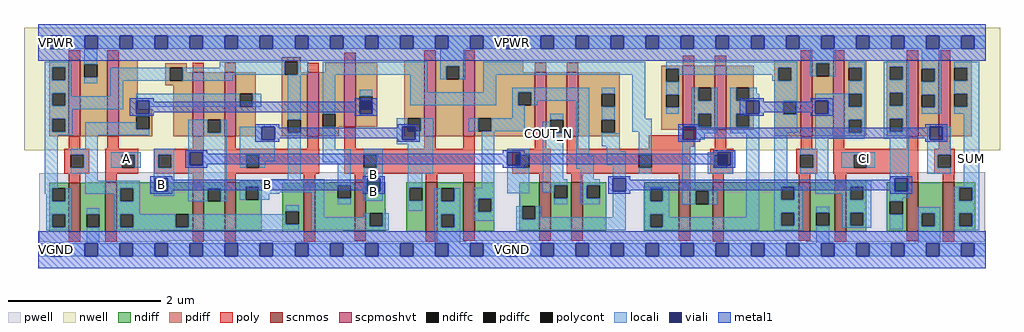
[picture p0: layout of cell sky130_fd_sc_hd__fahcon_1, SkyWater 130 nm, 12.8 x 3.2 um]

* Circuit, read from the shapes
.subckt sky130_fd_sc_hd__fahcon_1 A B CI VGND VNB VPB VPWR COUT_N SUM
XM1 VGND n1 n2 VNB sky130_fd_pr__nfet_01v8 w=0.64 l=0.15
XM2 n1 A VGND VNB sky130_fd_pr__nfet_01v8 w=0.65 l=0.15
XM3 n3 B n1 VNB sky130_fd_pr__nfet_01v8 w=0.64 l=0.15
XM4 n2 n4 n3 VNB sky130_fd_pr__nfet_01v8 w=0.64 l=0.15
XM5 n5 n4 n1 VNB sky130_fd_pr__nfet_01v8 w=0.64 l=0.15
XM6 n2 B n5 VNB sky130_fd_pr__nfet_01v8 w=0.64 l=0.15
XM7 VGND B n4 VNB sky130_fd_pr__nfet_01v8 w=0.65 l=0.15
XM8 n6 B VGND VNB sky130_fd_pr__nfet_01v8 w=0.64 l=0.15
XM9 COUT_N n3 n7 VNB sky130_fd_pr__nfet_01v8 w=0.64 l=0.15
XM10 n6 n5 COUT_N VNB sky130_fd_pr__nfet_01v8 w=0.64 l=0.15
XM11 n8 n5 n9 VNB sky130_fd_pr__nfet_01v8 w=0.64 l=0.15
XM12 n10 n3 n8 VNB sky130_fd_pr__nfet_01v8 w=0.64 l=0.15
XM13 VGND n9 n10 VNB sky130_fd_pr__nfet_01v8 w=0.64 l=0.15
XM14 n9 CI VGND VNB sky130_fd_pr__nfet_01v8 w=0.65 l=0.15
XM15 VGND CI n7 VNB sky130_fd_pr__nfet_01v8 w=0.64 l=0.15
XM16 SUM n8 VGND VNB sky130_fd_pr__nfet_01v8 w=0.65 l=0.15
XM17 VPWR n1 n2 VPB sky130_fd_pr__pfet_01v8_hvt w=1 l=0.15
XM18 n1 A VPWR VPB sky130_fd_pr__pfet_01v8_hvt w=1 l=0.15
XM19 n3 B n2 VPB sky130_fd_pr__pfet_01v8_hvt w=0.84 l=0.15
XM20 n1 n4 n3 VPB sky130_fd_pr__pfet_01v8_hvt w=0.84 l=0.15
XM21 n5 n4 n2 VPB sky130_fd_pr__pfet_01v8_hvt w=0.84 l=0.15
XM22 n1 B n5 VPB sky130_fd_pr__pfet_01v8_hvt w=0.84 l=0.15
XM23 VPWR B n4 VPB sky130_fd_pr__pfet_01v8_hvt w=1 l=0.15
XM24 n6 B VPWR VPB sky130_fd_pr__pfet_01v8_hvt w=1 l=0.15
XM25 COUT_N n3 n6 VPB sky130_fd_pr__pfet_01v8_hvt w=0.84 l=0.15
XM26 n7 n5 COUT_N VPB sky130_fd_pr__pfet_01v8_hvt w=0.84 l=0.15
XM27 n8 n5 n10 VPB sky130_fd_pr__pfet_01v8_hvt w=0.84 l=0.15
XM28 n9 n3 n8 VPB sky130_fd_pr__pfet_01v8_hvt w=0.84 l=0.15
XM29 VPWR n9 n10 VPB sky130_fd_pr__pfet_01v8_hvt w=1 l=0.15
XM30 n9 CI VPWR VPB sky130_fd_pr__pfet_01v8_hvt w=1 l=0.15
XM31 VPWR CI n7 VPB sky130_fd_pr__pfet_01v8_hvt w=1 l=0.15
XM32 SUM n8 VPWR VPB sky130_fd_pr__pfet_01v8_hvt w=1 l=0.15
.ends

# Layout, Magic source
magic
tech sky130A
magscale 1 2
<< nwell >>
rect -38 261 2522 582
<< pwell >>
rect 99 201 2483 203
rect 2 23 2483 201
rect 2 21 344 23
rect 614 21 1122 23
rect 2013 21 2483 23
rect 29 -17 63 21
<< scnmos >>
rect 80 47 110 175
rect 175 47 205 177
rect 404 49 434 177
rect 488 49 518 177
rect 696 47 726 175
rect 829 49 859 177
rect 1016 47 1046 177
rect 1114 49 1144 177
rect 1313 49 1343 177
rect 1398 49 1428 177
rect 1680 49 1710 177
rect 1768 49 1798 177
rect 1994 49 2024 177
rect 2089 47 2119 177
rect 2277 49 2307 177
rect 2372 47 2402 177
<< scpmoshvt >>
rect 80 297 110 497
rect 180 297 210 497
rect 404 297 434 465
rect 488 297 518 465
rect 705 297 735 465
rect 802 322 832 490
rect 1012 297 1042 497
rect 1114 297 1144 497
rect 1302 297 1332 465
rect 1386 297 1416 465
rect 1690 315 1720 483
rect 1774 315 1804 483
rect 2000 297 2030 497
rect 2084 297 2114 497
rect 2277 297 2307 497
rect 2361 297 2391 497
<< ndiff >>
rect 125 175 175 177
rect 28 161 80 175
rect 28 127 36 161
rect 70 127 80 161
rect 28 93 80 127
rect 28 59 36 93
rect 70 59 80 93
rect 28 47 80 59
rect 110 93 175 175
rect 110 59 126 93
rect 160 59 175 93
rect 110 47 175 59
rect 205 161 404 177
rect 205 127 215 161
rect 249 127 404 161
rect 205 93 404 127
rect 205 59 215 93
rect 249 59 360 93
rect 394 59 404 93
rect 205 49 404 59
rect 434 161 488 177
rect 434 127 444 161
rect 478 127 488 161
rect 434 49 488 127
rect 518 165 586 177
rect 763 175 829 177
rect 518 131 544 165
rect 578 131 586 165
rect 518 49 586 131
rect 640 101 696 175
rect 640 67 648 101
rect 682 67 696 101
rect 205 47 318 49
rect 640 47 696 67
rect 726 169 829 175
rect 726 135 785 169
rect 819 135 829 169
rect 726 49 829 135
rect 859 106 909 177
rect 964 163 1016 177
rect 964 129 972 163
rect 1006 129 1016 163
rect 964 121 1016 129
rect 859 95 911 106
rect 859 61 869 95
rect 903 61 911 95
rect 859 49 911 61
rect 726 47 798 49
rect 965 47 1016 121
rect 1046 161 1114 177
rect 1046 127 1056 161
rect 1090 127 1114 161
rect 1046 93 1114 127
rect 1046 59 1056 93
rect 1090 59 1114 93
rect 1046 49 1114 59
rect 1144 133 1196 177
rect 1144 99 1154 133
rect 1188 99 1196 133
rect 1144 49 1196 99
rect 1261 114 1313 177
rect 1261 80 1269 114
rect 1303 80 1313 114
rect 1261 49 1313 80
rect 1343 169 1398 177
rect 1343 135 1353 169
rect 1387 135 1398 169
rect 1343 49 1398 135
rect 1428 169 1489 177
rect 1428 135 1438 169
rect 1472 135 1489 169
rect 1428 49 1489 135
rect 1589 161 1680 177
rect 1589 127 1604 161
rect 1638 127 1680 161
rect 1589 93 1680 127
rect 1589 59 1604 93
rect 1638 59 1680 93
rect 1589 49 1680 59
rect 1710 153 1768 177
rect 1710 119 1724 153
rect 1758 119 1768 153
rect 1710 49 1768 119
rect 1798 165 1994 177
rect 1798 131 1948 165
rect 1982 131 1994 165
rect 1798 97 1994 131
rect 1798 63 1948 97
rect 1982 63 1994 97
rect 1798 49 1994 63
rect 2024 97 2089 177
rect 2024 63 2040 97
rect 2074 63 2089 97
rect 2024 49 2089 63
rect 1046 47 1096 49
rect 2039 47 2089 49
rect 2119 165 2171 177
rect 2119 131 2129 165
rect 2163 131 2171 165
rect 2119 97 2171 131
rect 2119 63 2129 97
rect 2163 63 2171 97
rect 2119 47 2171 63
rect 2225 127 2277 177
rect 2225 93 2233 127
rect 2267 93 2277 127
rect 2225 49 2277 93
rect 2307 95 2372 177
rect 2307 61 2317 95
rect 2351 61 2372 95
rect 2307 49 2372 61
rect 2322 47 2372 49
rect 2402 163 2457 177
rect 2402 129 2415 163
rect 2449 129 2457 163
rect 2402 95 2457 129
rect 2402 61 2415 95
rect 2449 61 2457 95
rect 2402 47 2457 61
<< pdiff >>
rect 28 479 80 497
rect 28 445 36 479
rect 70 445 80 479
rect 28 411 80 445
rect 28 377 36 411
rect 70 377 80 411
rect 28 343 80 377
rect 28 309 36 343
rect 70 309 80 343
rect 28 297 80 309
rect 110 486 180 497
rect 110 452 120 486
rect 154 452 180 486
rect 110 297 180 452
rect 210 369 260 497
rect 638 493 688 505
rect 332 477 389 489
rect 332 443 344 477
rect 378 465 389 477
rect 378 443 404 465
rect 332 431 404 443
rect 210 350 298 369
rect 210 316 256 350
rect 290 316 298 350
rect 210 297 298 316
rect 354 297 404 431
rect 434 341 488 465
rect 434 307 444 341
rect 478 307 488 341
rect 434 297 488 307
rect 518 409 570 465
rect 518 375 528 409
rect 562 375 570 409
rect 518 297 570 375
rect 638 459 646 493
rect 680 465 688 493
rect 752 465 802 490
rect 680 459 705 465
rect 638 341 705 459
rect 638 307 654 341
rect 688 307 705 341
rect 638 297 705 307
rect 735 357 802 465
rect 735 323 745 357
rect 779 323 802 357
rect 735 322 802 323
rect 832 403 888 490
rect 832 369 842 403
rect 876 369 888 403
rect 832 322 888 369
rect 960 345 1012 497
rect 735 297 787 322
rect 960 311 968 345
rect 1002 311 1012 345
rect 960 297 1012 311
rect 1042 481 1114 497
rect 1042 447 1070 481
rect 1104 447 1114 481
rect 1042 297 1114 447
rect 1144 465 1271 497
rect 1634 475 1690 483
rect 1144 413 1302 465
rect 1144 379 1258 413
rect 1292 379 1302 413
rect 1144 345 1302 379
rect 1144 311 1154 345
rect 1188 311 1302 345
rect 1144 297 1302 311
rect 1332 341 1386 465
rect 1332 307 1342 341
rect 1376 307 1386 341
rect 1332 297 1386 307
rect 1416 409 1524 465
rect 1416 375 1478 409
rect 1512 375 1524 409
rect 1416 341 1524 375
rect 1416 307 1478 341
rect 1512 307 1524 341
rect 1634 441 1646 475
rect 1680 441 1690 475
rect 1634 407 1690 441
rect 1634 373 1646 407
rect 1680 373 1690 407
rect 1634 315 1690 373
rect 1720 425 1774 483
rect 1720 391 1730 425
rect 1764 391 1774 425
rect 1720 357 1774 391
rect 1720 323 1730 357
rect 1764 323 1774 357
rect 1720 315 1774 323
rect 1804 425 1876 483
rect 1804 391 1830 425
rect 1864 391 1876 425
rect 1804 357 1876 391
rect 1804 323 1830 357
rect 1864 323 1876 357
rect 1804 315 1876 323
rect 1930 477 2000 497
rect 1930 443 1940 477
rect 1974 443 2000 477
rect 1930 389 2000 443
rect 1930 355 1954 389
rect 1988 355 2000 389
rect 1416 297 1524 307
rect 1930 297 2000 355
rect 2030 489 2084 497
rect 2030 455 2040 489
rect 2074 455 2084 489
rect 2030 297 2084 455
rect 2114 477 2171 497
rect 2114 443 2125 477
rect 2159 443 2171 477
rect 2114 409 2171 443
rect 2114 375 2125 409
rect 2159 375 2171 409
rect 2114 341 2171 375
rect 2114 307 2125 341
rect 2159 307 2171 341
rect 2114 297 2171 307
rect 2225 480 2277 497
rect 2225 446 2233 480
rect 2267 446 2277 480
rect 2225 412 2277 446
rect 2225 378 2233 412
rect 2267 378 2277 412
rect 2225 344 2277 378
rect 2225 310 2233 344
rect 2267 310 2277 344
rect 2225 297 2277 310
rect 2307 475 2361 497
rect 2307 441 2317 475
rect 2351 441 2361 475
rect 2307 407 2361 441
rect 2307 373 2317 407
rect 2351 373 2361 407
rect 2307 297 2361 373
rect 2391 477 2448 497
rect 2391 443 2402 477
rect 2436 443 2448 477
rect 2391 409 2448 443
rect 2391 375 2402 409
rect 2436 375 2448 409
rect 2391 297 2448 375
<< ndiffc >>
rect 36 127 70 161
rect 36 59 70 93
rect 126 59 160 93
rect 215 127 249 161
rect 215 59 249 93
rect 360 59 394 93
rect 444 127 478 161
rect 544 131 578 165
rect 648 67 682 101
rect 785 135 819 169
rect 972 129 1006 163
rect 869 61 903 95
rect 1056 127 1090 161
rect 1056 59 1090 93
rect 1154 99 1188 133
rect 1269 80 1303 114
rect 1353 135 1387 169
rect 1438 135 1472 169
rect 1604 127 1638 161
rect 1604 59 1638 93
rect 1724 119 1758 153
rect 1948 131 1982 165
rect 1948 63 1982 97
rect 2040 63 2074 97
rect 2129 131 2163 165
rect 2129 63 2163 97
rect 2233 93 2267 127
rect 2317 61 2351 95
rect 2415 129 2449 163
rect 2415 61 2449 95
<< pdiffc >>
rect 36 445 70 479
rect 36 377 70 411
rect 36 309 70 343
rect 120 452 154 486
rect 344 443 378 477
rect 256 316 290 350
rect 444 307 478 341
rect 528 375 562 409
rect 646 459 680 493
rect 654 307 688 341
rect 745 323 779 357
rect 842 369 876 403
rect 968 311 1002 345
rect 1070 447 1104 481
rect 1258 379 1292 413
rect 1154 311 1188 345
rect 1342 307 1376 341
rect 1478 375 1512 409
rect 1478 307 1512 341
rect 1646 441 1680 475
rect 1646 373 1680 407
rect 1730 391 1764 425
rect 1730 323 1764 357
rect 1830 391 1864 425
rect 1830 323 1864 357
rect 1940 443 1974 477
rect 1954 355 1988 389
rect 2040 455 2074 489
rect 2125 443 2159 477
rect 2125 375 2159 409
rect 2125 307 2159 341
rect 2233 446 2267 480
rect 2233 378 2267 412
rect 2233 310 2267 344
rect 2317 441 2351 475
rect 2317 373 2351 407
rect 2402 443 2436 477
rect 2402 375 2436 409
<< poly >>
rect 80 497 110 523
rect 180 497 210 523
rect 404 465 434 491
rect 488 465 518 491
rect 705 465 735 491
rect 802 490 832 516
rect 1012 497 1042 523
rect 1114 497 1144 523
rect 80 265 110 297
rect 180 265 210 297
rect 404 265 434 297
rect 67 249 133 265
rect 67 215 85 249
rect 119 215 133 249
rect 67 199 133 215
rect 175 249 262 265
rect 175 215 218 249
rect 252 215 262 249
rect 175 199 262 215
rect 304 249 434 265
rect 304 215 314 249
rect 348 215 434 249
rect 304 199 434 215
rect 80 175 110 199
rect 175 177 205 199
rect 404 177 434 199
rect 488 265 518 297
rect 705 265 735 297
rect 802 265 832 322
rect 1302 465 1332 491
rect 1386 465 1416 491
rect 1690 483 1720 509
rect 1774 483 1804 509
rect 2000 497 2030 523
rect 2084 497 2114 523
rect 2277 497 2307 523
rect 2361 497 2391 523
rect 1690 300 1720 315
rect 1012 265 1042 297
rect 1114 265 1144 297
rect 1302 265 1332 297
rect 1386 265 1416 297
rect 1601 270 1720 300
rect 1601 265 1710 270
rect 1774 265 1804 315
rect 2000 265 2030 297
rect 2084 265 2114 297
rect 2277 265 2307 297
rect 2361 265 2391 297
rect 488 249 737 265
rect 488 215 545 249
rect 579 215 737 249
rect 488 199 737 215
rect 802 249 1144 265
rect 802 215 853 249
rect 887 215 1144 249
rect 802 199 1144 215
rect 1243 249 1343 265
rect 1243 215 1253 249
rect 1287 215 1343 249
rect 1243 199 1343 215
rect 1386 249 1710 265
rect 1386 215 1575 249
rect 1609 215 1710 249
rect 1386 199 1710 215
rect 1762 249 1822 265
rect 1762 215 1772 249
rect 1806 215 1822 249
rect 1762 199 1822 215
rect 1988 249 2042 265
rect 1988 215 1998 249
rect 2032 215 2042 249
rect 1988 199 2042 215
rect 2084 249 2307 265
rect 2084 215 2138 249
rect 2172 215 2307 249
rect 2084 199 2307 215
rect 2349 249 2403 265
rect 2349 215 2359 249
rect 2393 215 2403 249
rect 2349 199 2403 215
rect 488 177 518 199
rect 696 175 726 199
rect 829 177 859 199
rect 1016 177 1046 199
rect 1114 177 1144 199
rect 1313 177 1343 199
rect 1398 177 1428 199
rect 1680 177 1710 199
rect 1768 177 1798 199
rect 1994 177 2024 199
rect 2089 177 2119 199
rect 2277 177 2307 199
rect 2372 177 2402 199
rect 80 21 110 47
rect 175 21 205 47
rect 404 21 434 49
rect 488 21 518 49
rect 696 21 726 47
rect 829 23 859 49
rect 1016 21 1046 47
rect 1114 23 1144 49
rect 1313 23 1343 49
rect 1398 23 1428 49
rect 1680 23 1710 49
rect 1768 21 1798 49
rect 1994 23 2024 49
rect 2089 21 2119 47
rect 2277 23 2307 49
rect 2372 21 2402 47
<< polycont >>
rect 85 215 119 249
rect 218 215 252 249
rect 314 215 348 249
rect 545 215 579 249
rect 853 215 887 249
rect 1253 215 1287 249
rect 1575 215 1609 249
rect 1772 215 1806 249
rect 1998 215 2032 249
rect 2138 215 2172 249
rect 2359 215 2393 249
<< locali >>
rect 0 527 29 561
rect 63 527 121 561
rect 155 527 213 561
rect 247 527 305 561
rect 339 527 397 561
rect 431 527 489 561
rect 523 527 581 561
rect 615 527 673 561
rect 707 527 765 561
rect 799 527 857 561
rect 891 527 949 561
rect 983 527 1041 561
rect 1075 527 1133 561
rect 1167 527 1225 561
rect 1259 527 1317 561
rect 1351 527 1409 561
rect 1443 527 1501 561
rect 1535 527 1593 561
rect 1627 527 1685 561
rect 1719 527 1777 561
rect 1811 527 1869 561
rect 1903 527 1961 561
rect 1995 527 2053 561
rect 2087 527 2145 561
rect 2179 527 2237 561
rect 2271 527 2329 561
rect 2363 527 2421 561
rect 2455 527 2484 561
rect 17 479 86 493
rect 17 445 36 479
rect 70 445 86 479
rect 17 411 86 445
rect 120 486 154 527
rect 475 477 646 493
rect 120 436 154 452
rect 188 443 344 477
rect 378 459 646 477
rect 680 459 708 493
rect 745 459 1020 493
rect 378 443 509 459
rect 17 377 36 411
rect 70 402 86 411
rect 188 402 222 443
rect 70 377 222 402
rect 17 368 222 377
rect 256 391 528 409
rect 17 343 88 368
rect 17 309 36 343
rect 70 309 88 343
rect 290 375 528 391
rect 562 375 584 409
rect 256 350 290 357
rect 17 300 88 309
rect 122 316 256 334
rect 654 341 688 459
rect 122 300 290 316
rect 393 307 444 341
rect 478 307 494 341
rect 17 161 51 300
rect 122 265 156 300
rect 85 249 156 265
rect 119 215 156 249
rect 190 249 268 255
rect 190 215 218 249
rect 252 215 268 249
rect 302 249 356 265
rect 302 215 314 249
rect 348 215 356 249
rect 85 199 156 215
rect 122 181 156 199
rect 302 187 356 215
rect 122 161 265 181
rect 17 147 36 161
rect 20 127 36 147
rect 70 127 86 161
rect 122 147 215 161
rect 20 93 86 127
rect 199 127 215 147
rect 249 127 265 161
rect 302 153 305 187
rect 339 153 356 187
rect 302 142 356 153
rect 393 255 494 307
rect 393 221 397 255
rect 431 221 494 255
rect 393 161 494 221
rect 528 289 586 323
rect 528 249 620 289
rect 528 215 545 249
rect 579 232 620 249
rect 579 215 595 232
rect 654 185 688 307
rect 745 357 779 459
rect 842 403 876 419
rect 975 413 1020 459
rect 1054 481 1120 527
rect 1054 447 1070 481
rect 1104 447 1120 481
rect 1167 459 1592 493
rect 1167 413 1201 459
rect 975 379 1201 413
rect 1242 413 1444 425
rect 1242 379 1258 413
rect 1292 391 1444 413
rect 1292 379 1308 391
rect 842 351 876 357
rect 1242 345 1276 379
rect 745 264 779 323
rect 940 323 968 345
rect 940 289 954 323
rect 1002 311 1036 345
rect 1129 311 1154 345
rect 1188 311 1276 345
rect 1342 341 1376 357
rect 988 289 1036 311
rect 940 277 1036 289
rect 745 230 819 264
rect 611 181 750 185
rect 393 127 444 161
rect 478 127 494 161
rect 528 165 750 181
rect 528 131 544 165
rect 578 151 750 165
rect 578 147 632 151
rect 578 131 605 147
rect 20 59 36 93
rect 70 59 86 93
rect 20 51 86 59
rect 126 93 160 109
rect 126 17 160 59
rect 199 93 265 127
rect 648 101 682 117
rect 199 59 215 93
rect 249 59 360 93
rect 394 67 648 93
rect 394 59 682 67
rect 199 51 682 59
rect 716 85 750 151
rect 785 169 819 230
rect 785 119 819 135
rect 853 249 903 265
rect 887 215 903 249
rect 853 187 903 215
rect 853 153 862 187
rect 896 153 903 187
rect 853 129 903 153
rect 968 199 1036 277
rect 968 163 1006 199
rect 1162 163 1196 311
rect 1322 307 1342 335
rect 968 129 972 163
rect 968 102 1006 129
rect 1040 127 1056 161
rect 1090 127 1106 161
rect 853 85 869 95
rect 716 61 869 85
rect 903 61 919 95
rect 716 51 919 61
rect 1040 93 1106 127
rect 1040 59 1056 93
rect 1090 59 1106 93
rect 1140 133 1196 163
rect 1230 255 1287 265
rect 1264 249 1287 255
rect 1230 215 1253 221
rect 1230 148 1287 215
rect 1322 185 1376 307
rect 1410 246 1444 391
rect 1478 409 1512 425
rect 1478 341 1512 375
rect 1558 344 1592 459
rect 1646 477 1990 493
rect 1646 475 1940 477
rect 1680 459 1940 475
rect 1924 443 1940 459
rect 1974 443 1990 477
rect 2024 489 2091 527
rect 2024 455 2040 489
rect 2074 455 2091 489
rect 2125 477 2167 493
rect 1646 407 1680 441
rect 1646 357 1680 373
rect 1714 391 1730 425
rect 1764 391 1780 425
rect 1714 357 1780 391
rect 1558 310 1609 344
rect 1714 323 1730 357
rect 1764 323 1780 357
rect 1478 306 1512 307
rect 1478 272 1524 306
rect 1490 258 1524 272
rect 1410 212 1456 246
rect 1490 221 1540 258
rect 1422 185 1456 212
rect 1506 187 1540 221
rect 1575 249 1609 310
rect 1575 199 1609 215
rect 1688 289 1690 323
rect 1724 306 1780 323
rect 1814 391 1830 425
rect 1864 409 1884 425
rect 1864 391 1890 409
rect 1814 357 1856 391
rect 1814 323 1830 357
rect 1864 323 1890 357
rect 1814 306 1890 323
rect 1724 289 1748 306
rect 1322 169 1387 185
rect 1322 151 1353 169
rect 1140 99 1154 133
rect 1188 99 1196 133
rect 1353 119 1387 135
rect 1422 169 1472 185
rect 1422 135 1438 169
rect 1422 119 1472 135
rect 1140 76 1196 99
rect 1253 80 1269 114
rect 1303 85 1319 114
rect 1506 85 1540 153
rect 1303 80 1540 85
rect 1040 17 1106 59
rect 1253 51 1540 80
rect 1587 161 1654 165
rect 1587 127 1604 161
rect 1638 127 1654 161
rect 1587 93 1654 127
rect 1688 153 1722 289
rect 1756 249 1782 255
rect 1756 215 1772 249
rect 1816 221 1822 255
rect 1806 215 1822 221
rect 1756 199 1822 215
rect 1688 119 1724 153
rect 1758 119 1780 153
rect 1587 59 1604 93
rect 1638 85 1654 93
rect 1856 85 1890 306
rect 1638 59 1890 85
rect 1587 51 1890 59
rect 1930 389 1990 443
rect 2159 443 2167 477
rect 2125 409 2167 443
rect 1930 355 1954 389
rect 1988 355 1990 389
rect 1930 307 1990 355
rect 2038 391 2125 409
rect 2072 375 2125 391
rect 2159 375 2167 409
rect 2072 357 2167 375
rect 2038 341 2167 357
rect 2038 307 2125 341
rect 2159 307 2167 341
rect 1930 165 1964 307
rect 2038 291 2167 307
rect 2217 480 2283 493
rect 2217 446 2233 480
rect 2267 446 2283 480
rect 2217 412 2283 446
rect 2217 378 2233 412
rect 2267 378 2283 412
rect 2217 344 2283 378
rect 2317 475 2368 527
rect 2351 441 2368 475
rect 2317 407 2368 441
rect 2351 373 2368 407
rect 2317 357 2368 373
rect 2402 477 2467 493
rect 2436 443 2467 477
rect 2402 409 2467 443
rect 2436 375 2467 409
rect 2402 357 2467 375
rect 2217 310 2233 344
rect 2267 310 2283 344
rect 2217 291 2283 310
rect 2038 265 2072 291
rect 1998 249 2072 265
rect 2032 215 2072 249
rect 2106 249 2195 255
rect 2106 215 2138 249
rect 2172 215 2195 249
rect 1998 199 2072 215
rect 2038 181 2072 199
rect 2233 187 2283 291
rect 2331 289 2338 323
rect 2372 289 2393 323
rect 2331 249 2393 289
rect 2331 215 2359 249
rect 2331 199 2393 215
rect 2038 165 2184 181
rect 1930 131 1948 165
rect 1982 131 2004 165
rect 2038 147 2129 165
rect 1930 97 2004 131
rect 2108 131 2129 147
rect 2163 131 2184 165
rect 1930 63 1948 97
rect 1982 63 2004 97
rect 1930 51 2004 63
rect 2040 97 2074 113
rect 2040 17 2074 63
rect 2108 97 2184 131
rect 2108 63 2129 97
rect 2163 63 2184 97
rect 2108 57 2184 63
rect 2233 153 2246 187
rect 2280 153 2283 187
rect 2427 165 2467 357
rect 2233 136 2283 153
rect 2399 163 2467 165
rect 2233 127 2267 136
rect 2399 129 2415 163
rect 2449 129 2467 163
rect 2233 54 2267 93
rect 2307 95 2365 111
rect 2307 61 2317 95
rect 2351 61 2365 95
rect 2307 17 2365 61
rect 2399 95 2467 129
rect 2399 61 2415 95
rect 2449 61 2467 95
rect 2399 51 2467 61
rect 0 -17 29 17
rect 63 -17 121 17
rect 155 -17 213 17
rect 247 -17 305 17
rect 339 -17 397 17
rect 431 -17 489 17
rect 523 -17 581 17
rect 615 -17 673 17
rect 707 -17 765 17
rect 799 -17 857 17
rect 891 -17 949 17
rect 983 -17 1041 17
rect 1075 -17 1133 17
rect 1167 -17 1225 17
rect 1259 -17 1317 17
rect 1351 -17 1409 17
rect 1443 -17 1501 17
rect 1535 -17 1593 17
rect 1627 -17 1685 17
rect 1719 -17 1777 17
rect 1811 -17 1869 17
rect 1903 -17 1961 17
rect 1995 -17 2053 17
rect 2087 -17 2145 17
rect 2179 -17 2237 17
rect 2271 -17 2329 17
rect 2363 -17 2421 17
rect 2455 -17 2484 17
<< viali >>
rect 29 527 63 561
rect 121 527 155 561
rect 213 527 247 561
rect 305 527 339 561
rect 397 527 431 561
rect 489 527 523 561
rect 581 527 615 561
rect 673 527 707 561
rect 765 527 799 561
rect 857 527 891 561
rect 949 527 983 561
rect 1041 527 1075 561
rect 1133 527 1167 561
rect 1225 527 1259 561
rect 1317 527 1351 561
rect 1409 527 1443 561
rect 1501 527 1535 561
rect 1593 527 1627 561
rect 1685 527 1719 561
rect 1777 527 1811 561
rect 1869 527 1903 561
rect 1961 527 1995 561
rect 2053 527 2087 561
rect 2145 527 2179 561
rect 2237 527 2271 561
rect 2329 527 2363 561
rect 2421 527 2455 561
rect 256 357 290 391
rect 305 153 339 187
rect 397 221 431 255
rect 586 289 620 323
rect 842 369 876 391
rect 842 357 876 369
rect 954 311 968 323
rect 968 311 988 323
rect 954 289 988 311
rect 862 153 896 187
rect 1230 249 1264 255
rect 1230 221 1253 249
rect 1253 221 1264 249
rect 1690 289 1724 323
rect 1856 357 1890 391
rect 1506 153 1540 187
rect 1782 249 1816 255
rect 1782 221 1806 249
rect 1806 221 1816 249
rect 2038 357 2072 391
rect 2338 289 2372 323
rect 2246 153 2280 187
rect 29 -17 63 17
rect 121 -17 155 17
rect 213 -17 247 17
rect 305 -17 339 17
rect 397 -17 431 17
rect 489 -17 523 17
rect 581 -17 615 17
rect 673 -17 707 17
rect 765 -17 799 17
rect 857 -17 891 17
rect 949 -17 983 17
rect 1041 -17 1075 17
rect 1133 -17 1167 17
rect 1225 -17 1259 17
rect 1317 -17 1351 17
rect 1409 -17 1443 17
rect 1501 -17 1535 17
rect 1593 -17 1627 17
rect 1685 -17 1719 17
rect 1777 -17 1811 17
rect 1869 -17 1903 17
rect 1961 -17 1995 17
rect 2053 -17 2087 17
rect 2145 -17 2179 17
rect 2237 -17 2271 17
rect 2329 -17 2363 17
rect 2421 -17 2455 17
<< metal1 >>
rect 0 561 2484 592
rect 0 527 29 561
rect 63 527 121 561
rect 155 527 213 561
rect 247 527 305 561
rect 339 527 397 561
rect 431 527 489 561
rect 523 527 581 561
rect 615 527 673 561
rect 707 527 765 561
rect 799 527 857 561
rect 891 527 949 561
rect 983 527 1041 561
rect 1075 527 1133 561
rect 1167 527 1225 561
rect 1259 527 1317 561
rect 1351 527 1409 561
rect 1443 527 1501 561
rect 1535 527 1593 561
rect 1627 527 1685 561
rect 1719 527 1777 561
rect 1811 527 1869 561
rect 1903 527 1961 561
rect 1995 527 2053 561
rect 2087 527 2145 561
rect 2179 527 2237 561
rect 2271 527 2329 561
rect 2363 527 2421 561
rect 2455 527 2484 561
rect 0 496 2484 527
rect 239 391 302 397
rect 239 357 256 391
rect 290 388 302 391
rect 830 391 888 397
rect 830 388 842 391
rect 290 360 842 388
rect 290 357 302 360
rect 239 351 302 357
rect 830 357 842 360
rect 876 357 888 391
rect 830 351 888 357
rect 1839 391 1902 397
rect 1839 357 1856 391
rect 1890 388 1902 391
rect 2026 391 2084 397
rect 2026 388 2038 391
rect 1890 360 2038 388
rect 1890 357 1902 360
rect 1839 351 1902 357
rect 2026 357 2038 360
rect 2072 357 2084 391
rect 2026 351 2084 357
rect 569 323 632 329
rect 569 289 586 323
rect 620 320 632 323
rect 942 323 1000 329
rect 942 320 954 323
rect 620 292 954 320
rect 620 289 632 292
rect 569 283 632 289
rect 942 289 954 292
rect 988 289 1000 323
rect 942 283 1000 289
rect 1678 323 1736 329
rect 1678 289 1690 323
rect 1724 320 1736 323
rect 2326 323 2384 329
rect 2326 320 2338 323
rect 1724 292 2338 320
rect 1724 289 1736 292
rect 1678 283 1736 289
rect 2326 289 2338 292
rect 2372 289 2384 323
rect 2326 283 2384 289
rect 385 255 443 261
rect 385 221 397 255
rect 431 252 443 255
rect 1218 255 1276 261
rect 1218 252 1230 255
rect 431 224 1230 252
rect 431 221 443 224
rect 385 215 443 221
rect 1218 221 1230 224
rect 1264 252 1276 255
rect 1770 255 1828 261
rect 1770 252 1782 255
rect 1264 224 1782 252
rect 1264 221 1276 224
rect 1218 215 1276 221
rect 1770 221 1782 224
rect 1816 221 1828 255
rect 1770 215 1828 221
rect 293 187 351 193
rect 293 153 305 187
rect 339 184 351 187
rect 850 187 908 193
rect 850 184 862 187
rect 339 156 862 184
rect 339 153 351 156
rect 293 147 351 153
rect 850 153 862 156
rect 896 153 908 187
rect 850 147 908 153
rect 1494 187 1552 193
rect 1494 153 1506 187
rect 1540 184 1552 187
rect 2234 187 2292 193
rect 2234 184 2246 187
rect 1540 156 2246 184
rect 1540 153 1552 156
rect 1494 147 1552 153
rect 2234 153 2246 156
rect 2280 153 2292 187
rect 2234 147 2292 153
rect 0 17 2484 48
rect 0 -17 29 17
rect 63 -17 121 17
rect 155 -17 213 17
rect 247 -17 305 17
rect 339 -17 397 17
rect 431 -17 489 17
rect 523 -17 581 17
rect 615 -17 673 17
rect 707 -17 765 17
rect 799 -17 857 17
rect 891 -17 949 17
rect 983 -17 1041 17
rect 1075 -17 1133 17
rect 1167 -17 1225 17
rect 1259 -17 1317 17
rect 1351 -17 1409 17
rect 1443 -17 1501 17
rect 1535 -17 1593 17
rect 1627 -17 1685 17
rect 1719 -17 1777 17
rect 1811 -17 1869 17
rect 1903 -17 1961 17
rect 1995 -17 2053 17
rect 2087 -17 2145 17
rect 2179 -17 2237 17
rect 2271 -17 2329 17
rect 2363 -17 2421 17
rect 2455 -17 2484 17
rect 0 -48 2484 -17
<< labels >>
flabel locali s 1322 289 1356 323 0 FreeSans 300 0 0 0 COUT_N
port 8 nsew signal output
flabel locali s 305 153 339 187 0 FreeSans 300 0 0 0 B
port 2 nsew signal input
flabel locali s 213 221 247 255 0 FreeSans 300 180 0 0 A
port 1 nsew signal input
flabel locali s 2430 221 2464 255 0 FreeSans 300 0 0 0 SUM
port 9 nsew signal output
flabel locali s 2150 221 2184 255 0 FreeSans 300 0 0 0 CI
port 3 nsew signal input
flabel metal1 s 29 527 63 561 0 FreeSans 200 0 0 0 VPWR
port 7 nsew power bidirectional abutment
flabel metal1 s 29 -17 63 17 0 FreeSans 200 0 0 0 VGND
port 4 nsew ground bidirectional abutment
flabel metal1 s 322 170 322 170 0 FreeSans 300 0 0 0 B
flabel pwell s 29 -17 63 17 0 FreeSans 200 0 0 0 VNB
port 5 nsew ground bidirectional
flabel nwell s 29 527 63 561 0 FreeSans 200 0 0 0 VPB
port 6 nsew power bidirectional
rlabel comment s 0 0 0 0 4 fahcon_1
rlabel locali s 853 129 903 265 1 B
port 2 nsew signal input
rlabel metal1 s 850 184 908 193 1 B
port 2 nsew signal input
rlabel metal1 s 850 147 908 156 1 B
port 2 nsew signal input
rlabel metal1 s 293 184 351 193 1 B
port 2 nsew signal input
rlabel metal1 s 293 156 908 184 1 B
port 2 nsew signal input
rlabel metal1 s 293 147 351 156 1 B
port 2 nsew signal input
rlabel metal1 s 0 -48 2484 48 1 VGND
port 4 nsew ground bidirectional abutment
rlabel metal1 s 0 496 2484 592 1 VPWR
port 7 nsew power bidirectional abutment
<< properties >>
string FIXED_BBOX 0 0 2484 544
string GDS_END 2151672
string GDS_FILE $PDKPATH/libs.ref/sky130_fd_sc_hd/gds/sky130_fd_sc_hd.gds
string GDS_START 2132868
string LEFclass CORE
string LEFsite unithd
string LEFsymmetry X Y R90
string path 0.000 13.600 62.100 13.600 
<< end >>
